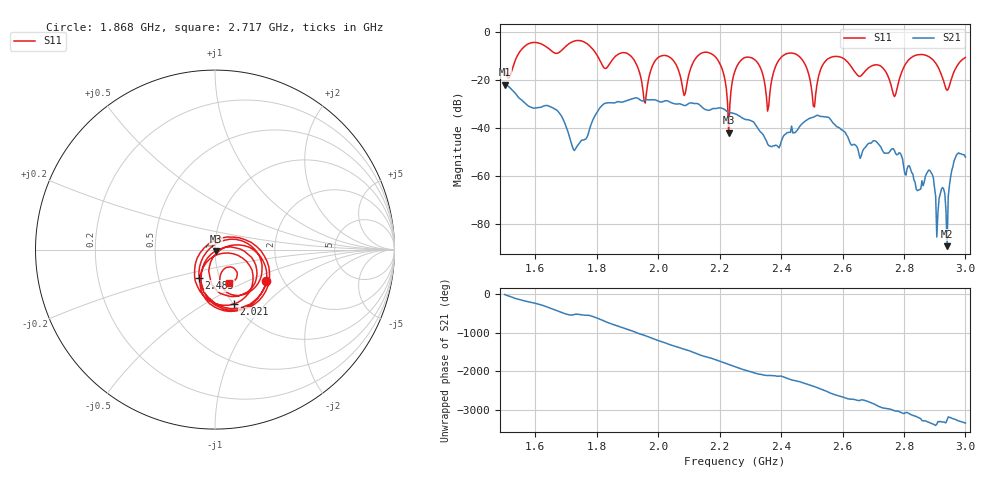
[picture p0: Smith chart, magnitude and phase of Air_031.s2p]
# HZ S RI R 50
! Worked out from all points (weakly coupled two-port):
!   404 points, 1.5 GHz to 3 GHz, reference 50 ohm
!   highest |S21| = -22.03 dB at 1.5 GHz (marker M1); lowest = -89.3 dB at 2.94 GHz (marker M2)
!   lowest |S11| = -42.0 dB at 2.23 GHz (marker M3), VSWR 1.02, Z = 50.3 - j0.73 ohm
!   |S11| at or under -10 dB: 2.182 GHz to 2.406 GHz (223.6 MHz wide, 9.75 % of centre); 2.456 GHz to 2.834 GHz (377.8 MHz wide, 14.3 % of centre); 2.875 GHz to end of sweep (the widest 3 of 7)
!   S12 and S22 are empty: the file has one direction only
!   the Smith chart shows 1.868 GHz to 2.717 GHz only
!   S11 on the Smith chart (normalised r, x): 1.868 GHz: 1.64, -0.65; 2.021 GHz: 1.00, -0.68; 2.483 GHz: 0.80, -0.26; 2.717 GHz: 1.08, -0.42
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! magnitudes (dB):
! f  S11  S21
! 1.5 GHz  -16.2  -22.0
! 1.753 GHz  -3.9  -45.1
! 1.868 GHz  -9.5  -29.1
! 1.958 GHz  -29.7  -28.5
! 2.002 GHz  -10.5  -29.0
! 2.021 GHz  -9.9  -28.8
! 2.084 GHz  -26.5  -30.7
! 2.177 GHz  -9.5  -32.0
! 2.23 GHz  -42.0  -33.6
! 2.252 GHz  -15.6  -34.2
! 2.315 GHz  -11.7  -38.4
! 2.356 GHz  -33.0  -46.7
! 2.408 GHz  -9.8  -43.4
! 2.483 GHz  -14.9  -36.8
! 2.501 GHz  -26.0  -35.7
! 2.561 GHz  -10.7  -36.5
! 2.717 GHz  -13.9  -46.7
! 2.751 GHz  -19.3  -50.4
! 2.862 GHz  -9.5  -64.1
! 2.94 GHz  -24.4  -89.3
! 2.967 GHz  -15.7  -52.7
! 3 GHz  -10.7  -52.2
